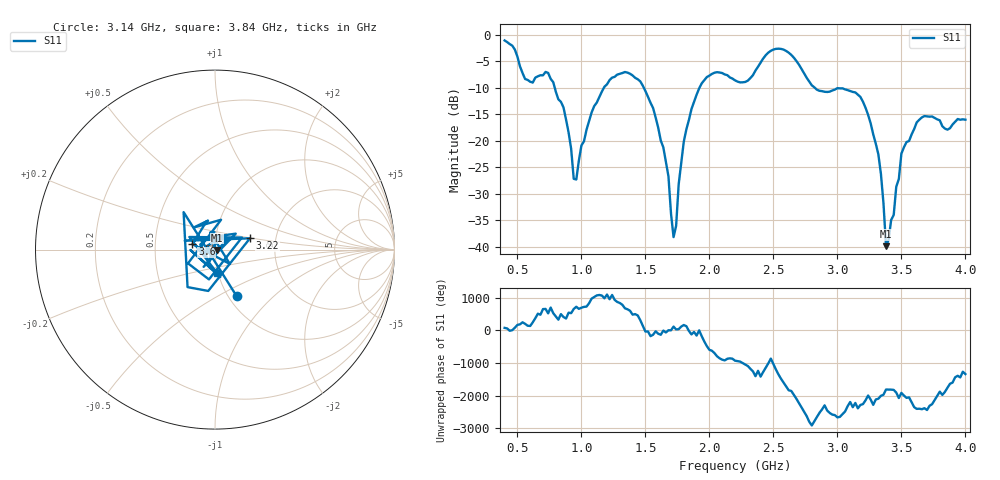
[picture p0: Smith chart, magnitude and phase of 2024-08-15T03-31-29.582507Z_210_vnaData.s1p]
!Created with skrf (http://scikit-rf.org).
# Hz S RI R 50.0
!freq ReS11 ImS11
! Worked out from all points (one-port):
!   181 points, 400 MHz to 4 GHz, reference 50 ohm
!   lowest |S11| = -39.9 dB at 3.38 GHz (marker M1), VSWR 1.02, Z = 51 - j0.243 ohm
!   |S11| at or under -10 dB: 791.9 MHz to 1.176 GHz (383.8 MHz wide, 39 % of centre); 1.488 GHz to 1.922 GHz (434.5 MHz wide, 25.5 % of centre); 2.824 GHz to end of sweep
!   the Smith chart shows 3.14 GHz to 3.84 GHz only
!   S11 on the Smith chart (normalised r, x): 3.14 GHz: 1.09, -0.62; 3.22 GHz: 1.47, +0.19; 3.6 GHz: 0.78, +0.05; 3.84 GHz: 0.99, -0.26
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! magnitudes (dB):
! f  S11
! 400 MHz  -1.1
! 560 MHz  -8.3
! 740 MHz  -7.2
! 860 MHz  -13.7
! 960 MHz  -27.3
! 1.08 GHz  -14.6
! 1.3 GHz  -7.4
! 1.56 GHz  -13.8
! 1.68 GHz  -26.7
! 1.72 GHz  -38.2
! 1.74 GHz  -36.1
! 1.76 GHz  -28.2
! 1.82 GHz  -17.8
! 1.94 GHz  -9.2
! 2.2 GHz  -8.6
! 2.5 GHz  -2.8
! 2.66 GHz  -4.3
! 2.84 GHz  -10.4
! 3.1 GHz  -10.6
! 3.14 GHz  -10.9
! 3.22 GHz  -13.8
! 3.32 GHz  -22.6
! 3.38 GHz  -39.9
! 3.5 GHz  -22.4
! 3.56 GHz  -20.0
! 3.6 GHz  -17.8
! 3.84 GHz  -17.7
! 4 GHz  -16.0
